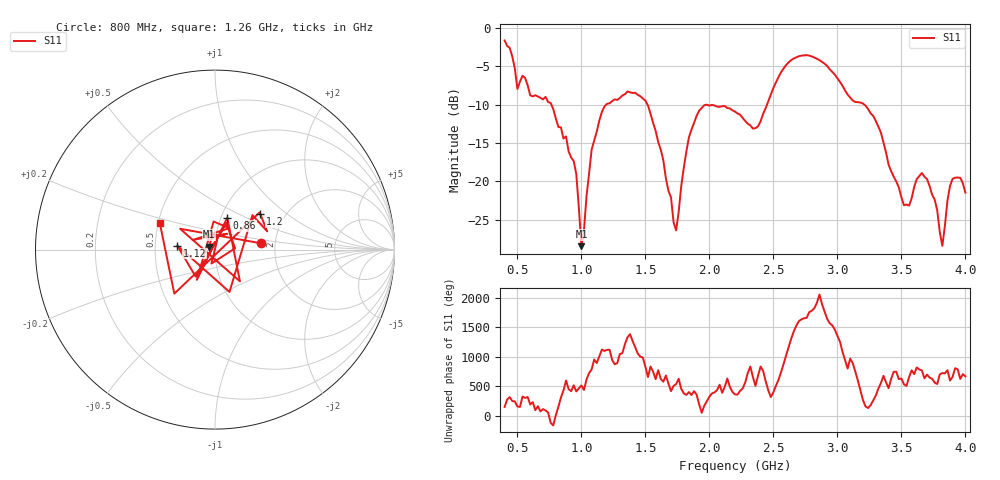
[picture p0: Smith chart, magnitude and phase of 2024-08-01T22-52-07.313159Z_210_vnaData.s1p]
!Created with skrf (http://scikit-rf.org).
# Hz S RI R 50.0
!freq ReS11 ImS11
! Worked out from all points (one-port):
!   181 points, 400 MHz to 4 GHz, reference 50 ohm
!   lowest |S11| = -28.5 dB at 1 GHz (marker M1), VSWR 1.08, Z = 46.7 + j1.59 ohm
!   |S11| at or under -10 dB: 1.517 GHz to 1.976 GHz (459 MHz wide, 26.3 % of centre); 1.982 GHz to 2.45 GHz (467.5 MHz wide, 21.1 % of centre); 3.211 GHz to end of sweep (the widest 3 of 4)
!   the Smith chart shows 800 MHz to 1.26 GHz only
!   S11 on the Smith chart (normalised r, x): 800 MHz: 1.68, +0.13; 860 MHz: 1.07, +0.39; 1.12 GHz: 0.65, +0.03; 1.2 GHz: 1.50, +0.66; 1.26 GHz: 0.51, +0.17
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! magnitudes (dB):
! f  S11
! 400 MHz  -1.6
! 500 MHz  -7.9
! 540 MHz  -6.2
! 800 MHz  -11.8
! 860 MHz  -14.4
! 960 MHz  -19.1
! 1 GHz  -28.5
! 1.08 GHz  -15.9
! 1.12 GHz  -13.5
! 1.2 GHz  -9.9
! 1.26 GHz  -9.3
! 1.3 GHz  -9.1
! 1.52 GHz  -10.1
! 1.72 GHz  -25.3
! 1.76 GHz  -24.0
! 1.84 GHz  -14.3
! 1.92 GHz  -10.8
! 2.2 GHz  -10.9
! 2.38 GHz  -12.8
! 2.66 GHz  -4.0
! 2.9 GHz  -4.6
! 3.1 GHz  -9.0
! 3.28 GHz  -11.5
! 3.56 GHz  -23.2
! 3.7 GHz  -19.7
! 3.82 GHz  -28.4
! 3.9 GHz  -19.7
! 4 GHz  -21.5
